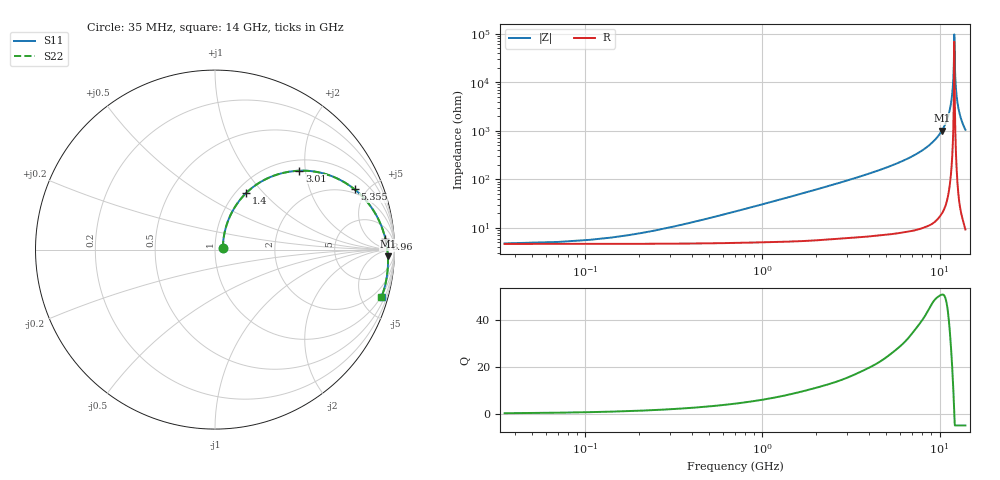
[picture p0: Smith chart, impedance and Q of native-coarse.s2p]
! Public IHP L6n2 fixture; full measured-incident-matrix conversion.
! Source 0f87e9d069de3e88bdfdc5bb30d4a0958f045d32; mesh 2 um.
! Geometry-specific reference result; not a general IHP compact model.
# Hz S RI R 50
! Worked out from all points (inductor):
!   400 points, 35 MHz to 14 GHz, reference 50 ohm
!   read as one part in series: L = 4.78 nH near 490 MHz
!   highest Q = 50.9 at 10.32 GHz (marker M1), where L = 15.6 nH
!   self-resonance near 12.11 GHz
!   S11 on the Smith chart (normalised r, x): 35 MHz: 1.09, +0.02; 1.4 GHz: 1.11, +0.80; 3.01 GHz: 1.24, +1.85; 5.355 GHz: 1.74, +4.14; 8.96 GHz: 15, +19; 14 GHz: 0.92, -7.03
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3.5e7  0.0434 0.00892  0.9543 -0.0104  0.9542 -0.0104  0.0434 0.00892
5.95e8  0.0684 0.1483  0.9213 -0.1688  0.9213 -0.1688  0.0684 0.1483
1.4e9  0.1728 0.3144  0.8046 -0.3429  0.8046 -0.3429  0.1728 0.3142
2.38e9  0.355 0.4208  0.6197 -0.4585  0.6197 -0.4585  0.355 0.4206
3.01e9  0.4698 0.4396  0.5032 -0.4839  0.5032 -0.484  0.4697 0.4394
4.69e9  0.7109 0.381  0.2598 -0.4444  0.2598 -0.4444  0.7108 0.3807
5.355e9  0.7776 0.3362  0.1923 -0.4074  0.1923 -0.4074  0.7774 0.3358
7.035e9  0.8895 0.2076  0.078 -0.299  0.078 -0.299  0.8893 0.2072
8.96e9  0.9494 0.0607  0.0149 -0.1757  0.0149 -0.1757  0.9492 0.0603
9.345e9  0.9553 0.0325  0.00825 -0.1523  0.00825 -0.1523  0.9551 0.0321
1.0325e10  0.9633 -0.0365  -0.0017 -0.0954  -0.00169 -0.0954  0.963 -0.037
1.1165e10  0.9635 -0.0931  -0.00356 -0.0493  -0.00357 -0.0494  0.9632 -0.0936
1.169e10  0.9606 -0.1271  -0.00197 -0.022  -0.00198 -0.022  0.9603 -0.1276
1.2005e10  0.9581 -0.1469  -0.000153 -0.00604  -0.000144 -0.00604  0.9578 -0.1474
1.2075e10  0.9575 -0.1513  0.000334 -0.00255  0.000347 -0.00255  0.9571 -0.1518
1.211e10  0.9572 -0.1534  0.000588 -0.000806  0.000603 -0.000811  0.9568 -0.154
1.2145e10  0.9568 -0.1556  0.000851 0.000931  0.000867 0.000922  0.9564 -0.1561
1.218e10  0.9565 -0.1578  0.00112 0.00266  0.00114 0.00265  0.9561 -0.1583
1.225e10  0.9558 -0.1621  0.00168 0.00612  0.0017 0.0061  0.9554 -0.1626
1.253e10  0.9526 -0.1794  0.00425 0.0198  0.00426 0.0197  0.9523 -0.1798
1.309e10  0.9444 -0.2131  0.0109 0.0462  0.0108 0.0462  0.9442 -0.2136
1.4e10  0.9279 -0.2648  0.0252 0.0866  0.0252 0.0866  0.9273 -0.2652
